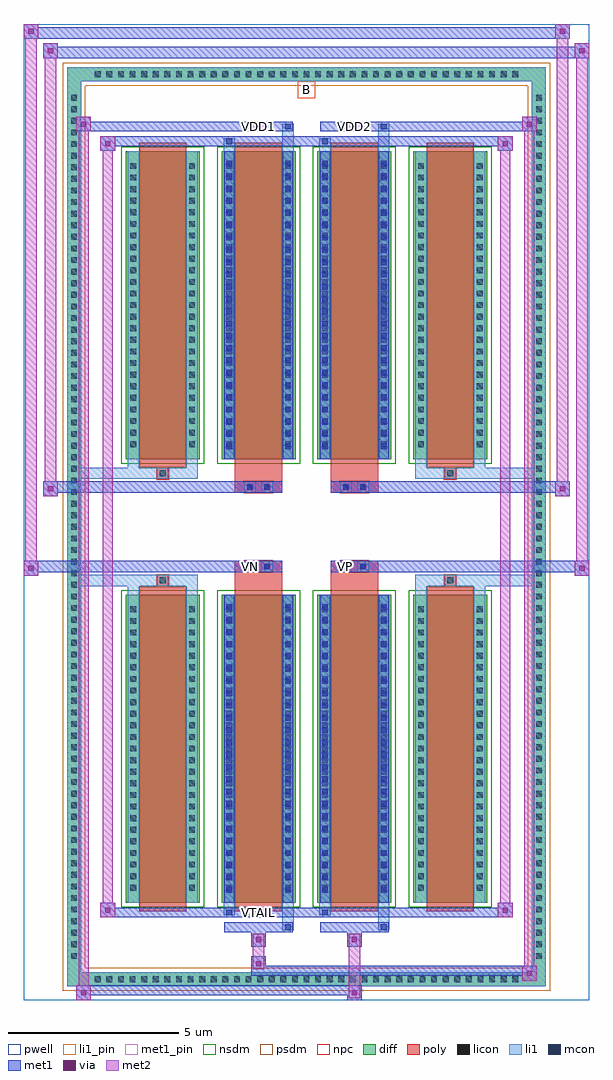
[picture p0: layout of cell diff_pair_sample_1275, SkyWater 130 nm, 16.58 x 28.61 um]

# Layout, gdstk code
import gdstk
lib = gdstk.Library(unit=1e-6, precision=5e-09)
def R(c, l, rs):  # rectangles x0, y0, x1, y1
    for r in rs: c.add(gdstk.rectangle(r[:2], r[2:], *l))
def A(c, l, x, y, w, h, nx, ny, dx, dy):  # array of equal rectangles
    R(c, l, [(x+i*dx, y+j*dy, x+i*dx+w, y+j*dy+h) for i in range(nx) for j in range(ny)])
def P(c, l, *ps):  # polygons
    for p in ps: c.add(gdstk.Polygon(p, *l))
pwell = (64, 44)
diff = (65, 20)
poly = (66, 20)
licon = (66, 44)
li1_pin = (67, 16)
li1 = (67, 20)
mcon = (67, 44)
met1_pin = (68, 16)
met1 = (68, 20)
via = (68, 44)
met2 = (69, 20)
nsdm = (93, 44)
psdm = (94, 20)
npc = (95, 20)

diff_pair_sample_1275 = lib.new_cell('diff_pair_sample_1275')
R(diff_pair_sample_1275, pwell, [(-8.29,-13.87,8.29,14.74), (-5.61,-12.06,-0.01,-0.8), (0.01,-12.06,5.61,-0.8), (-5.61,0.8,-0.01,12.06), (0.01,0.8,5.61,12.06)])
A(diff_pair_sample_1275, diff, -6.325, -13.47, 0.41, 0.41, 37, 2, 0.34, 26.53)
A(diff_pair_sample_1275, diff, -7.02, -12.785, 0.41, 0.41, 1, 75, 0, 0.34)
A(diff_pair_sample_1275, diff, 6.61, -12.785, 0.41, 0.41, 1, 75, 0, 0.34)
A(diff_pair_sample_1275, diff, -5.3, -11.015, 2.17, 9.03, 4, 2, 2.81, 13)
R(diff_pair_sample_1275, diff, [(-6.325,-13.47,6.325,-13.06), (-7.02,-12.785,-6.61,12.785), (6.61,-12.785,7.02,12.785), (-6.325,13.06,6.325,13.47)])
P(diff_pair_sample_1275, diff, [(7.02,13.47),(-7.02,13.47),(-7.02,-13.06),(-6.61,-13.06),(-6.61,13.06),(6.61,13.06),(6.61,-13.06),(-6.61,-13.06),(-7.02,-13.06),(-7.02,-13.47),(7.02,-13.47)])
A(diff_pair_sample_1275, poly, -4.91, -11.265, 1.39, 9.53, 4, 2, 2.81, 13)
R(diff_pair_sample_1275, poly, [(-4.38,-1.735,-4.05,-1.405), (-4.38,-1.735,-4.05,-1.405), (-2.1,-1.735,-0.71,-1.33), (0.71,-1.735,2.1,-1.33), (4.05,-1.735,4.38,-1.405), (4.05,-1.735,4.38,-1.405), (-2.1,-1.33,-0.71,-1), (-1.82,-1.33,-1.49,-1), (-1.32,-1.33,-0.99,-1), (0.71,-1.33,2.1,-1), (0.99,-1.33,1.32,-1), (1.49,-1.33,1.82,-1), (-2.1,1,-0.71,1.33), (-1.82,1,-1.49,1.33), (-1.32,1,-0.99,1.33), (0.71,1,2.1,1.33), (0.99,1,1.32,1.33), (1.49,1,1.82,1.33), (-2.1,1.33,-0.71,1.735), (0.71,1.33,2.1,1.735), (-4.38,1.405,-4.05,1.735), (-4.38,1.405,-4.05,1.735), (4.05,1.405,4.38,1.735), (4.05,1.405,4.38,1.735)])
A(diff_pair_sample_1275, licon, -6.205, -13.35, 0.17, 0.17, 37, 2, 0.34, 26.53)
A(diff_pair_sample_1275, licon, -6.9, -12.665, 0.17, 0.17, 1, 75, 0, 0.34)
A(diff_pair_sample_1275, licon, 6.73, -12.665, 0.17, 0.17, 1, 75, 0, 0.34)
A(diff_pair_sample_1275, licon, -5.16, -10.665, 0.17, 0.17, 1, 25, 0, 0.34)
A(diff_pair_sample_1275, licon, -3.44, -10.665, 0.17, 0.17, 1, 25, 0, 0.34)
A(diff_pair_sample_1275, licon, -2.35, -10.665, 0.17, 0.17, 1, 25, 0, 0.34)
A(diff_pair_sample_1275, licon, -0.63, -10.665, 0.17, 0.17, 1, 25, 0, 0.34)
A(diff_pair_sample_1275, licon, 0.46, -10.665, 0.17, 0.17, 1, 25, 0, 0.34)
A(diff_pair_sample_1275, licon, 2.18, -10.665, 0.17, 0.17, 1, 25, 0, 0.34)
A(diff_pair_sample_1275, licon, 3.27, -10.665, 0.17, 0.17, 1, 25, 0, 0.34)
A(diff_pair_sample_1275, licon, 4.99, -10.665, 0.17, 0.17, 1, 25, 0, 0.34)
A(diff_pair_sample_1275, licon, -5.16, 2.335, 0.17, 0.17, 1, 25, 0, 0.34)
A(diff_pair_sample_1275, licon, -3.44, 2.335, 0.17, 0.17, 1, 25, 0, 0.34)
A(diff_pair_sample_1275, licon, -2.35, 2.335, 0.17, 0.17, 1, 25, 0, 0.34)
A(diff_pair_sample_1275, licon, -0.63, 2.335, 0.17, 0.17, 1, 25, 0, 0.34)
A(diff_pair_sample_1275, licon, 0.46, 2.335, 0.17, 0.17, 1, 25, 0, 0.34)
A(diff_pair_sample_1275, licon, 2.18, 2.335, 0.17, 0.17, 1, 25, 0, 0.34)
A(diff_pair_sample_1275, licon, 3.27, 2.335, 0.17, 0.17, 1, 25, 0, 0.34)
A(diff_pair_sample_1275, licon, 4.99, 2.335, 0.17, 0.17, 1, 25, 0, 0.34)
R(diff_pair_sample_1275, licon, [(-4.3,-1.655,-4.13,-1.485), (4.13,-1.655,4.3,-1.485), (-1.74,-1.25,-1.57,-1.08), (-1.24,-1.25,-1.07,-1.08), (1.07,-1.25,1.24,-1.08), (1.57,-1.25,1.74,-1.08), (-1.74,1.08,-1.57,1.25), (-1.24,1.08,-1.07,1.25), (1.07,1.08,1.24,1.25), (1.57,1.08,1.74,1.25), (-4.3,1.485,-4.13,1.655), (4.13,1.485,4.3,1.655)])
R(diff_pair_sample_1275, li1_pin, [(-0.25,12.56,0.25,13.06)])
A(diff_pair_sample_1275, li1, -6.285, -13.43, 0.33, 0.33, 37, 2, 0.34, 26.53)
A(diff_pair_sample_1275, li1, -6.98, -12.745, 0.33, 0.33, 1, 75, 0, 0.34)
A(diff_pair_sample_1275, li1, 6.65, -12.745, 0.33, 0.33, 1, 75, 0, 0.34)
A(diff_pair_sample_1275, li1, -5.24, -10.745, 0.33, 0.33, 1, 25, 0, 0.34)
A(diff_pair_sample_1275, li1, -3.52, -10.745, 0.33, 0.33, 1, 25, 0, 0.34)
A(diff_pair_sample_1275, li1, -2.43, -10.745, 0.33, 0.33, 1, 25, 0, 0.34)
A(diff_pair_sample_1275, li1, -0.71, -10.745, 0.33, 0.33, 1, 25, 0, 0.34)
A(diff_pair_sample_1275, li1, 0.38, -10.745, 0.33, 0.33, 1, 25, 0, 0.34)
A(diff_pair_sample_1275, li1, 2.1, -10.745, 0.33, 0.33, 1, 25, 0, 0.34)
A(diff_pair_sample_1275, li1, 3.19, -10.745, 0.33, 0.33, 1, 25, 0, 0.34)
A(diff_pair_sample_1275, li1, 4.91, -10.745, 0.33, 0.33, 1, 25, 0, 0.34)
A(diff_pair_sample_1275, li1, -2.35, -10.725, 0.17, 0.17, 1, 24, 0, 0.36)
A(diff_pair_sample_1275, li1, -0.63, -10.725, 0.17, 0.17, 1, 24, 0, 0.36)
A(diff_pair_sample_1275, li1, 0.46, -10.725, 0.17, 0.17, 1, 24, 0, 0.36)
A(diff_pair_sample_1275, li1, 2.18, -10.725, 0.17, 0.17, 1, 24, 0, 0.36)
A(diff_pair_sample_1275, li1, -5.24, 2.255, 0.33, 0.33, 1, 25, 0, 0.34)
A(diff_pair_sample_1275, li1, -3.52, 2.255, 0.33, 0.33, 1, 25, 0, 0.34)
A(diff_pair_sample_1275, li1, -2.43, 2.255, 0.33, 0.33, 1, 25, 0, 0.34)
A(diff_pair_sample_1275, li1, -0.71, 2.255, 0.33, 0.33, 1, 25, 0, 0.34)
A(diff_pair_sample_1275, li1, 0.38, 2.255, 0.33, 0.33, 1, 25, 0, 0.34)
A(diff_pair_sample_1275, li1, 2.1, 2.255, 0.33, 0.33, 1, 25, 0, 0.34)
A(diff_pair_sample_1275, li1, 3.19, 2.255, 0.33, 0.33, 1, 25, 0, 0.34)
A(diff_pair_sample_1275, li1, 4.91, 2.255, 0.33, 0.33, 1, 25, 0, 0.34)
A(diff_pair_sample_1275, li1, -2.35, 2.275, 0.17, 0.17, 1, 24, 0, 0.36)
A(diff_pair_sample_1275, li1, -0.63, 2.275, 0.17, 0.17, 1, 24, 0, 0.36)
A(diff_pair_sample_1275, li1, 0.46, 2.275, 0.17, 0.17, 1, 24, 0, 0.36)
A(diff_pair_sample_1275, li1, 2.18, 2.275, 0.17, 0.17, 1, 24, 0, 0.36)
R(diff_pair_sample_1275, li1, [(-7.02,-13.47,-6.61,-13.06), (-7.02,-13.47,-6.61,-13.06), (-6.61,-13.47,6.61,-13.06), (6.61,-13.47,7.02,-13.06), (6.61,-13.47,7.02,-13.06), (-7.02,-13.06,-6.61,13.06), (6.61,-13.06,7.02,13.06), (-0.71,-11.82,-0.38,-11.015), (-0.63,-11.82,-0.46,-11.65), (2.1,-11.82,2.43,-11.015), (2.18,-11.82,2.35,-11.65), (-2.43,-11.39,-2.1,-11.015), (-2.35,-11.39,-2.18,-11.22), (0.38,-11.39,0.71,-11.015), (0.46,-11.39,0.63,-11.22), (-5.24,-11.015,-4.91,-1.985), (-3.52,-11.015,-3.19,-1.985), (-2.43,-11.015,-2.1,-1.985), (-0.71,-11.015,-0.38,-1.985), (0.38,-11.015,0.71,-1.985), (2.1,-11.015,2.43,-1.985), (3.19,-11.015,3.52,-1.985), (4.91,-11.015,5.24,-1.985), (-2.35,-10.725,-2.18,-2.275), (-0.63,-10.725,-0.46,-2.275), (0.46,-10.725,0.63,-2.275), (2.18,-10.725,2.35,-2.275), (-5.24,-1.985,-4.91,-1.405), (-3.52,-1.985,-3.19,-1.405), (3.19,-1.985,3.52,-1.405), (4.91,-1.985,5.24,-1.405), (-7.02,-1.735,-4.38,-1.405), (-5.24,-1.735,-4.38,-1.405), (-4.38,-1.735,-4.05,-1.405), (-4.05,-1.735,-3.19,-1.405), (3.19,-1.735,4.05,-1.405), (4.05,-1.735,4.38,-1.405), (4.05,-1.735,7.02,-1.405), (4.38,-1.735,5.24,-1.405), (-1.82,-1.33,-1.49,-1), (-1.32,-1.33,-0.99,-1), (0.99,-1.33,1.32,-1), (1.49,-1.33,1.82,-1), (-1.82,1,-1.49,1.33), (-1.32,1,-0.99,1.33), (0.99,1,1.32,1.33), (1.49,1,1.82,1.33), (-7.02,1.405,-4.38,1.735), (-5.24,1.405,-4.38,1.735), (-5.24,1.405,-4.91,1.985), (-4.38,1.405,-4.05,1.735), (-4.05,1.405,-3.19,1.735), (-3.52,1.405,-3.19,1.985), (3.19,1.405,4.05,1.735), (3.19,1.405,3.52,1.985), (4.05,1.405,4.38,1.735), (4.05,1.405,7.02,1.735), (4.38,1.405,5.24,1.735), (4.91,1.405,5.24,1.985), (-5.24,1.985,-4.91,11.015), (-3.52,1.985,-3.19,11.015), (-2.43,1.985,-2.1,11.015), (-0.71,1.985,-0.38,11.015), (0.38,1.985,0.71,11.015), (2.1,1.985,2.43,11.015), (3.19,1.985,3.52,11.015), (4.91,1.985,5.24,11.015), (-2.35,2.275,-2.18,10.725), (-0.63,2.275,-0.46,10.725), (0.46,2.275,0.63,10.725), (2.18,2.275,2.35,10.725), (-2.43,11.015,-2.1,11.39), (-0.71,11.015,-0.38,11.82), (0.38,11.015,0.71,11.39), (2.1,11.015,2.43,11.82), (-2.35,11.22,-2.18,11.39), (0.46,11.22,0.63,11.39), (-0.63,11.65,-0.46,11.82), (2.18,11.65,2.35,11.82), (-7.02,13.06,-6.61,13.47), (-7.02,13.06,-6.61,13.47), (-6.61,13.06,6.61,13.47), (6.61,13.06,7.02,13.47), (6.61,13.06,7.02,13.47)])
A(diff_pair_sample_1275, mcon, -2.35, -10.725, 0.17, 0.17, 1, 24, 0, 0.36)
A(diff_pair_sample_1275, mcon, -0.63, -10.725, 0.17, 0.17, 1, 24, 0, 0.36)
A(diff_pair_sample_1275, mcon, 0.46, -10.725, 0.17, 0.17, 1, 24, 0, 0.36)
A(diff_pair_sample_1275, mcon, 2.18, -10.725, 0.17, 0.17, 1, 24, 0, 0.36)
A(diff_pair_sample_1275, mcon, -2.35, 2.275, 0.17, 0.17, 1, 24, 0, 0.36)
A(diff_pair_sample_1275, mcon, -0.63, 2.275, 0.17, 0.17, 1, 24, 0, 0.36)
A(diff_pair_sample_1275, mcon, 0.46, 2.275, 0.17, 0.17, 1, 24, 0, 0.36)
A(diff_pair_sample_1275, mcon, 2.18, 2.275, 0.17, 0.17, 1, 24, 0, 0.36)
R(diff_pair_sample_1275, mcon, [(-0.63,-11.82,-0.46,-11.65), (2.18,-11.82,2.35,-11.65), (-2.35,-11.39,-2.18,-11.22), (0.46,-11.39,0.63,-11.22), (-1.74,-1.25,-1.57,-1.08), (-1.24,-1.25,-1.07,-1.08), (1.07,-1.25,1.24,-1.08), (1.57,-1.25,1.74,-1.08), (-1.74,1.08,-1.57,1.25), (-1.24,1.08,-1.07,1.25), (1.07,1.08,1.24,1.25), (1.57,1.08,1.74,1.25), (-2.35,11.22,-2.18,11.39), (0.46,11.22,0.63,11.39), (-0.63,11.65,-0.46,11.82), (2.18,11.65,2.35,11.82)])
R(diff_pair_sample_1275, met1_pin, [(-1.54,-11.43,-1.27,-11.16), (-1.79,-1.29,-1.52,-1.02), (1.02,-1.29,1.29,-1.02), (-1.54,11.61,-1.27,11.88), (1.27,11.61,1.54,11.88)])
A(diff_pair_sample_1275, met1, -2.41, -10.785, 0.29, 0.29, 1, 24, 0, 0.36)
A(diff_pair_sample_1275, met1, -0.69, -10.785, 0.29, 0.29, 1, 24, 0, 0.36)
A(diff_pair_sample_1275, met1, 0.4, -10.785, 0.29, 0.29, 1, 24, 0, 0.36)
A(diff_pair_sample_1275, met1, 2.12, -10.785, 0.29, 0.29, 1, 24, 0, 0.36)
A(diff_pair_sample_1275, met1, -2.41, 2.215, 0.29, 0.29, 1, 24, 0, 0.36)
A(diff_pair_sample_1275, met1, -0.69, 2.215, 0.29, 0.29, 1, 24, 0, 0.36)
A(diff_pair_sample_1275, met1, 0.4, 2.215, 0.29, 0.29, 1, 24, 0, 0.36)
A(diff_pair_sample_1275, met1, 2.12, 2.215, 0.29, 0.29, 1, 24, 0, 0.36)
R(diff_pair_sample_1275, met1, [(-6.75,-13.87,-6.32,-13.44), (1.19,-13.87,1.62,-13.44), (-6.75,-13.73,1.62,-13.44), (6.32,-13.3,6.75,-12.87), (-1.62,-13.16,6.75,-12.87), (-1.62,-13.02,-1.19,-12.59), (-1.62,-12.31,-1.19,-11.88), (1.19,-12.31,1.62,-11.88), (-2.41,-11.88,-0.4,-11.59), (-0.69,-11.88,-0.4,-11.59), (0.4,-11.88,2.41,-11.59), (2.12,-11.88,2.41,-11.59), (-6.04,-11.45,-5.61,-11.02), (-6.04,-11.45,-2.41,-11.16), (-2.41,-11.45,-2.12,-11.16), (-2.41,-11.45,-0.4,-11.16), (-0.4,-11.45,0.4,-11.16), (0.4,-11.45,0.69,-11.16), (0.4,-11.45,2.41,-11.16), (2.41,-11.45,6.04,-11.16), (5.61,-11.45,6.04,-11.02), (-2.41,-11.015,-2.12,-1.985), (-0.69,-11.015,-0.4,-1.985), (0.4,-11.015,0.69,-1.985), (2.12,-11.015,2.41,-1.985), (-8.29,-1.43,-7.86,-1), (7.86,-1.43,8.29,-1), (-8.29,-1.33,-0.71,-1), (-2.1,-1.33,-0.71,-1), (0.71,-1.33,2.1,-1), (0.71,-1.33,8.29,-1), (-1.8,-1.31,-1.51,-1.02), (-1.3,-1.31,-1.01,-1.02), (1.01,-1.31,1.3,-1.02), (1.51,-1.31,1.8,-1.02), (-7.72,0.9,-7.29,1.33), (7.29,0.9,7.72,1.33), (-7.72,1,-2.1,1.33), (-2.1,1,-0.71,1.33), (0.71,1,2.1,1.33), (2.1,1,7.72,1.33), (-1.8,1.02,-1.51,1.31), (-1.3,1.02,-1.01,1.31), (1.01,1.02,1.3,1.31), (1.51,1.02,1.8,1.31), (-2.41,1.985,-2.12,11.015), (-0.69,1.985,-0.4,11.015), (0.4,1.985,0.69,11.015), (2.12,1.985,2.41,11.015), (-6.04,11.02,-5.61,11.45), (5.61,11.02,6.04,11.45), (-6.04,11.16,-2.41,11.45), (-2.41,11.16,-2.12,11.45), (-2.41,11.16,-0.4,11.45), (-0.4,11.16,0.4,11.45), (0.4,11.16,0.69,11.45), (0.4,11.16,2.41,11.45), (2.41,11.16,6.04,11.45), (-6.75,11.59,-6.32,12.02), (-6.75,11.59,-2.41,11.88), (-2.41,11.59,-0.4,11.88), (-0.69,11.59,-0.4,11.88), (0.4,11.59,2.41,11.88), (2.12,11.59,2.41,11.88), (2.41,11.59,6.75,11.88), (6.32,11.59,6.75,12.02), (-7.72,13.74,-7.29,14.17), (-7.72,13.74,-5.61,14.07), (-5.61,13.74,5.61,14.07), (5.61,13.74,8.29,14.07), (7.86,13.74,8.29,14.17), (-8.29,14.31,-7.86,14.74), (-8.29,14.31,-5.61,14.64), (-5.61,14.31,5.61,14.64), (5.61,14.31,7.72,14.64), (7.29,14.31,7.72,14.74)])
R(diff_pair_sample_1275, via, [(-6.61,-13.73,-6.46,-13.58), (1.33,-13.73,1.48,-13.58), (6.46,-13.16,6.61,-13.01), (-1.48,-12.88,-1.33,-12.73), (-1.48,-12.17,-1.33,-12.02), (1.33,-12.17,1.48,-12.02), (-5.9,-11.31,-5.75,-11.16), (5.75,-11.31,5.9,-11.16), (-8.15,-1.29,-8,-1.14), (8,-1.29,8.15,-1.14), (-7.58,1.04,-7.43,1.19), (7.43,1.04,7.58,1.19), (-5.9,11.16,-5.75,11.31), (5.75,11.16,5.9,11.31), (-6.61,11.73,-6.46,11.88), (6.46,11.73,6.61,11.88), (-7.58,13.88,-7.43,14.03), (8,13.88,8.15,14.03), (-8.15,14.45,-8,14.6), (7.43,14.45,7.58,14.6)])
R(diff_pair_sample_1275, met2, [(-6.75,-13.87,-6.32,-13.44), (-6.68,-13.87,-6.39,12.02), (-6.39,-13.87,-6.32,-13.44), (-6.7,-13.82,-6.37,-13.49), (1.24,-13.82,1.57,-13.49), (1.24,-13.49,1.57,-12.26), (6.32,-13.3,6.75,-12.87), (6.39,-13.3,6.68,12.02), (6.68,-13.3,6.75,-12.87), (6.37,-13.25,6.7,-12.92), (-1.57,-12.97,-1.24,-12.64), (-1.57,-12.64,-1.24,-12.26), (-1.57,-12.26,-1.24,-11.93), (1.24,-12.26,1.57,-11.93), (-6.04,-11.45,-5.61,-11.02), (-5.97,-11.45,-5.68,11.45), (-5.68,-11.45,-5.61,-11.02), (5.61,-11.45,6.04,-11.02), (5.68,-11.45,5.97,11.45), (5.97,-11.45,6.04,-11.02), (-5.99,-11.4,-5.66,-11.07), (5.66,-11.4,5.99,-11.07), (-8.29,-1.43,-7.86,-1), (-8.24,-1.43,-7.91,14.74), (-7.91,-1.43,-7.86,-1), (7.86,-1.43,8.29,-1), (7.91,-1.43,8.24,14.17), (8.24,-1.43,8.29,-1), (-8.24,-1.38,-7.91,-1.05), (7.91,-1.38,8.24,-1.05), (-7.72,0.9,-7.29,1.33), (-7.67,0.9,-7.34,14.17), (-7.34,0.9,-7.29,1.33), (7.29,0.9,7.72,1.33), (7.34,0.9,7.67,14.74), (7.67,0.9,7.72,1.33), (-7.67,0.95,-7.34,1.28), (7.34,0.95,7.67,1.28), (-6.04,11.02,-5.61,11.45), (-5.68,11.02,-5.61,11.45), (5.61,11.02,6.04,11.45), (5.97,11.02,6.04,11.45), (-5.99,11.07,-5.66,11.4), (5.66,11.07,5.99,11.4), (-6.75,11.59,-6.32,12.02), (-6.39,11.59,-6.32,12.02), (6.32,11.59,6.75,12.02), (6.68,11.59,6.75,12.02), (-6.7,11.64,-6.37,11.97), (6.37,11.64,6.7,11.97), (-7.72,13.74,-7.29,14.17), (-7.34,13.74,-7.29,14.17), (7.86,13.74,8.29,14.17), (8.24,13.74,8.29,14.17), (-7.67,13.79,-7.34,14.12), (7.91,13.79,8.24,14.12), (-8.29,14.31,-7.86,14.74), (-7.91,14.31,-7.86,14.74), (7.29,14.31,7.72,14.74), (7.67,14.31,7.72,14.74), (-8.24,14.36,-7.91,14.69), (7.34,14.36,7.67,14.69)])
A(diff_pair_sample_1275, nsdm, -5.43, -11.145, 2.43, 9.29, 4, 2, 2.81, 13)
P(diff_pair_sample_1275, psdm, [(7.15,13.6),(-7.15,13.6),(-7.15,-12.93),(-6.48,-12.93),(-6.48,12.93),(6.48,12.93),(6.48,-12.93),(-6.48,-12.93),(-7.15,-12.93),(-7.15,-13.6),(7.15,-13.6)])
R(diff_pair_sample_1275, npc, [(-4.4,-1.755,-4.03,-1.385), (4.03,-1.755,4.4,-1.385), (-1.84,-1.35,-1.47,-0.98), (-1.84,-1.35,-0.97,-0.98), (-1.84,-1.35,-0.97,-0.98), (-1.34,-1.35,-0.97,-0.98), (0.97,-1.35,1.34,-0.98), (0.97,-1.35,1.84,-0.98), (0.97,-1.35,1.84,-0.98), (1.47,-1.35,1.84,-0.98), (-1.84,0.98,-1.47,1.35), (-1.84,0.98,-0.97,1.35), (-1.84,0.98,-0.97,1.35), (-1.34,0.98,-0.97,1.35), (0.97,0.98,1.34,1.35), (0.97,0.98,1.84,1.35), (0.97,0.98,1.84,1.35), (1.47,0.98,1.84,1.35), (-4.4,1.385,-4.03,1.755), (4.03,1.385,4.4,1.755)])
diff_pair_sample_1275.add(gdstk.Label('VTAIL', (-1.405,-11.295), layer=68, texttype=5))
diff_pair_sample_1275.add(gdstk.Label('VN', (-1.655,-1.155), layer=68, texttype=5))
diff_pair_sample_1275.add(gdstk.Label('VP', (1.155,-1.155), layer=68, texttype=5))
diff_pair_sample_1275.add(gdstk.Label('B', (0,12.81), layer=67, texttype=5))
diff_pair_sample_1275.add(gdstk.Label('VDD2', (1.405,11.745), layer=68, texttype=5))
diff_pair_sample_1275.add(gdstk.Label('VDD1', (-1.405,11.745), layer=68, texttype=5))

lib.write_gds('diff_pair_sample_1275.gds')
